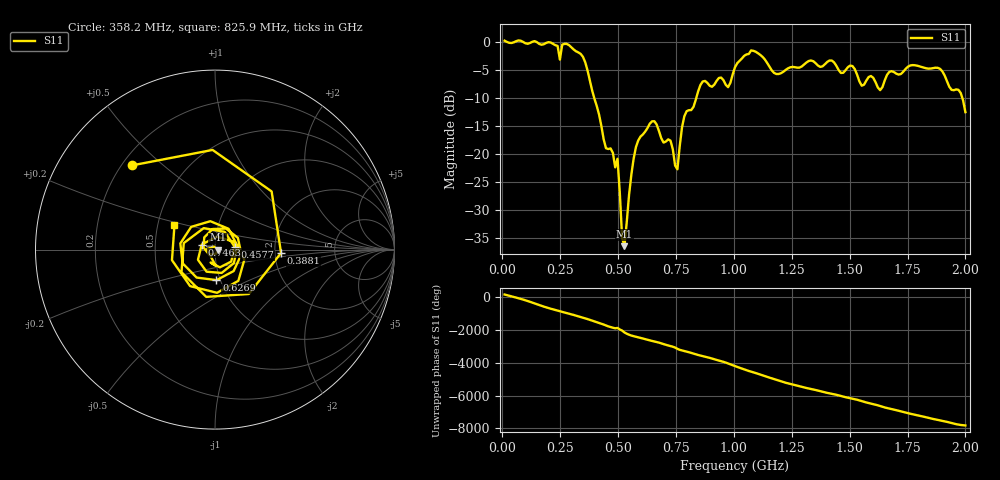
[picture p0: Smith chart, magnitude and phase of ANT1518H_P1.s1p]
!Created with skrf (http://scikit-rf.org).
# Hz S RI R 50.0
!freq ReS11 ImS11
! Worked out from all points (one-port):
!   201 points, 10 MHz to 2 GHz, reference 50 ohm
!   lowest |S11| = -36.4 dB at 527.4 MHz (marker M1), VSWR 1.03, Z = 51.5 + j0.00869 ohm
!   |S11| at or under -10 dB: 397.1 MHz to 837.7 MHz (440.7 MHz wide, 71.4 % of centre); 1.987 GHz to end of sweep
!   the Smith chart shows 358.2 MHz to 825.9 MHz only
!   S11 on the Smith chart (normalised r, x): 358.2 MHz: 0.24, +0.40; 388.1 MHz: 2.16, -0.09; 457.8 MHz: 1.25, +0.04; 626.9 MHz: 0.96, -0.34; 746.3 MHz: 0.86, +0.05; 825.9 MHz: 0.61, +0.18
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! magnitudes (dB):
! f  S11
! 10 MHz  0.2
! 209 MHz  -0.1
! 248.8 MHz  -3.2
! 258.8 MHz  -0.5
! 358.2 MHz  -3.6
! 388.1 MHz  -8.7
! 457.8 MHz  -19.1
! 497.6 MHz  -20.8
! 507.5 MHz  -26.9
! 517.5 MHz  -34.9
! 527.4 MHz  -36.4
! 567.2 MHz  -20.8
! 626.9 MHz  -15.4
! 726.4 MHz  -17.6
! 746.3 MHz  -22.0
! 756.2 MHz  -22.7
! 786.1 MHz  -13.3
! 825.9 MHz  -11.6
! 865.7 MHz  -7.1
! 975.1 MHz  -8.1
! 1.005 GHz  -4.5
! 1.075 GHz  -1.5
! 1.254 GHz  -4.5
! 1.502 GHz  -4.2
! 1.632 GHz  -8.6
! 1.751 GHz  -4.4
! 1.891 GHz  -4.8
! 2 GHz  -12.5
